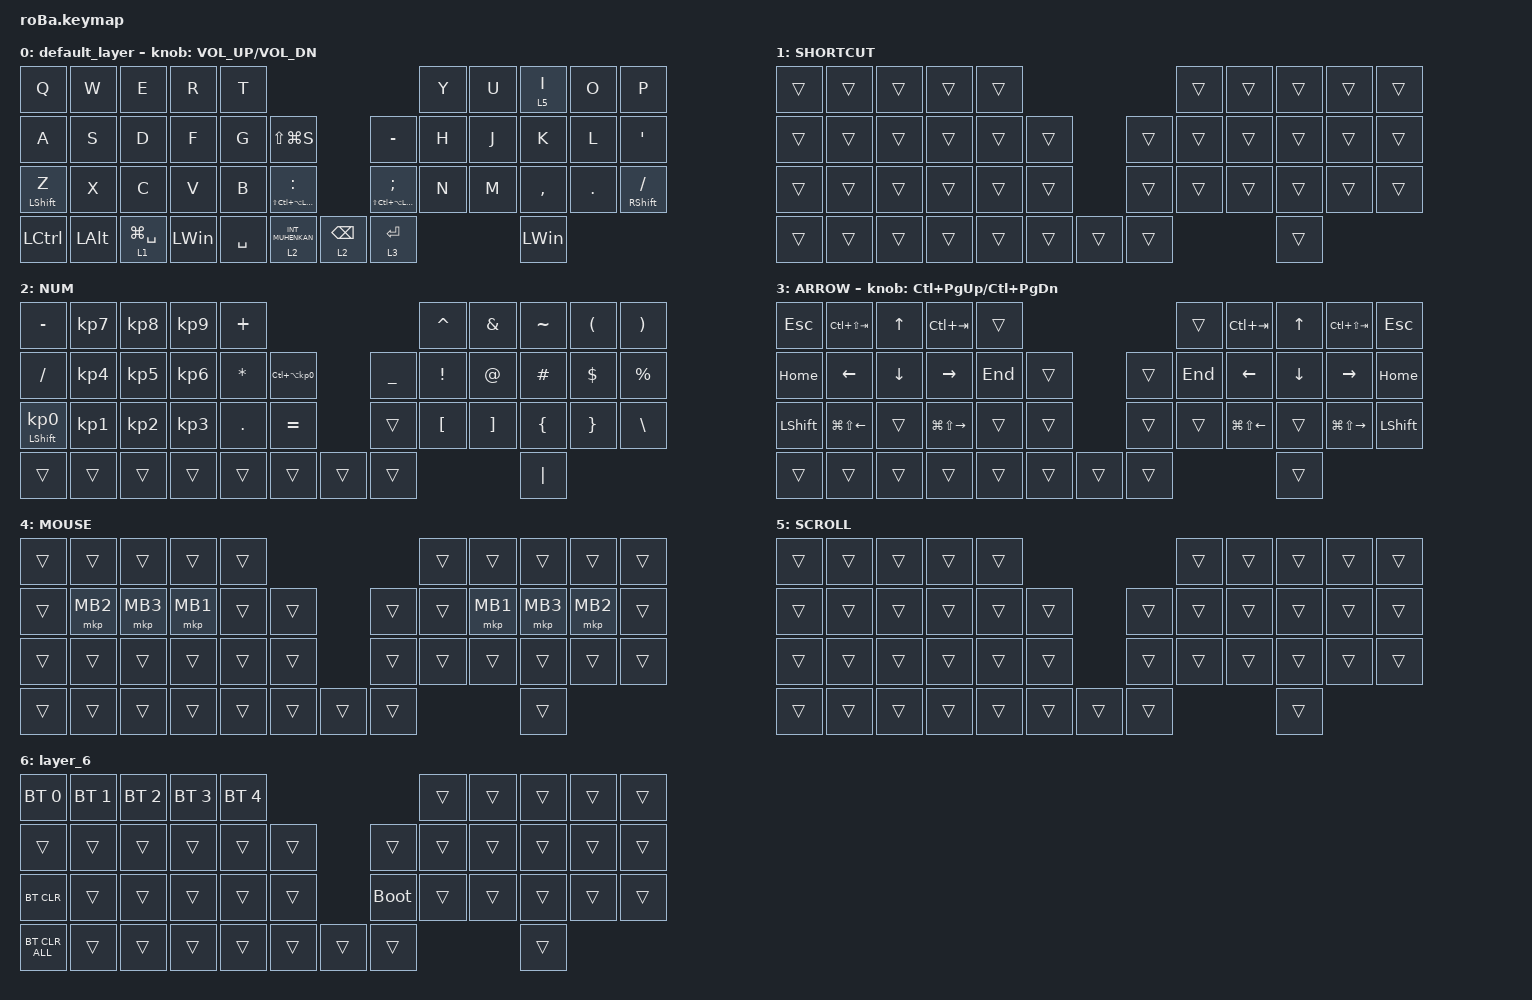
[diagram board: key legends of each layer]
#include <behaviors.dtsi>
#include <dt-bindings/zmk/bt.h>
#include <dt-bindings/zmk/keys.h>
#include <dt-bindings/zmk/pointing.h>

&mt {
    flavor = "balanced";
    quick-tap-ms = <0>;
    tapping-term-ms = <180>;
};

&lt {
    tapping-term-ms = <180>;
};

&trackball {
    automouse-layer = <4>;
    scroll-layers = <5>;

    // arrows {
    //     layers = <3>;
    //     bindings =
    //         <&kp RIGHT_ARROW>,
    //         <&kp LEFT_ARROW>,
    //         <&kp UP_ARROW>,
    //         <&kp DOWN_ARROW>;

    //     tick = <10>;
    //     wait-ms = <5>;
    //     tap-ms = <5>;
    // };
};

/ {
    combos {
        compatible = "zmk,combos";

        tab {
            bindings = <&kp TAB>;
            key-positions = <11 12>;
            timeout-ms = <200>;
        };

        shift_tab {
            bindings = <&kp LS(TAB)>;
            key-positions = <12 13>;
            timeout-ms = <200>;
        };

        muhennkann {
            bindings = <&to_layer_0 INT_MUHENKAN>;
            key-positions = <11 10>;
            timeout-ms = <200>;
        };

        double_quotation {
            bindings = <&kp DOUBLE_QUOTES>;
            key-positions = <20 21>;
            timeout-ms = <200>;
        };

        eq {
            bindings = <&kp EQUAL>;
            key-positions = <24 25>;
            timeout-ms = <200>;
        };

        english {
            bindings = <&kp LANGUAGE_2>;
            key-positions = <13 38>;
            timeout-ms = <200>;
        };

        japanese {
            bindings = <&kp LANGUAGE_1>;
            key-positions = <18 41>;
            timeout-ms = <200>;
        };
    };

    macros {
        to_layer_0: to_layer_0 {
            compatible = "zmk,behavior-macro-one-param";
            #binding-cells = <1>;
            bindings = <&to 0 &macro_param_1to1 &kp MACRO_PLACEHOLDER>;
            label = "TO_LAYER_0";
        };
    };

    behaviors {
        lt_to_layer_0: lt_to_layer_0 {
            compatible = "zmk,behavior-hold-tap";
            label = "LAYER_TAP_TO_0";
            bindings = <&mo>, <&to_layer_0>;

            #binding-cells = <2>;
            tapping-term-ms = <180>;
        };

        ht: hold_tap {
            compatible = "zmk,behavior-hold-tap";
            #binding-cells = <2>;
            bindings = <&kp>, <&kp>;
            tapping-term-ms = <180>;
            flavor = "balanced";
        };
    };

    keymap {
        compatible = "zmk,keymap";

        default_layer {
            bindings = <
&kp Q             &kp W         &kp E         &kp R                        &kp T                                                          &kp Y        &kp U  &lt 5 I    &kp O    &kp P
&kp A             &kp S         &kp D         &kp F                        &kp G        &kp LS(LG(S))                      &kp MINUS      &kp H        &kp J  &kp K      &kp L    &kp SQT
&mt LEFT_SHIFT Z  &kp X         &kp C         &kp V                        &kp B        &ht LS(LC(LA(LGUI))) COLON         &ht LS(LC(LA(LGUI))) SEMICOLON  &kp N        &kp M  &kp COMMA  &kp DOT  &mt RIGHT_SHIFT SLASH
&kp LCTRL         &kp LEFT_ALT  &lt 1 LG(SPACE)  &kp LEFT_WIN  &kp SPACE  &lt 2 INT_MUHENKAN      &lt 2 BACKSPACE  &lt 3 ENTER                             &kp LEFT_WIN
            >;

            sensor-bindings = <&inc_dec_kp C_VOL_UP C_VOL_DN>;
        };

        SHORTCUT {
            bindings = <
&trans  &trans  &trans  &trans  &trans                  &trans  &trans  &trans  &trans  &trans
&trans  &trans  &trans  &trans  &trans  &trans  &trans  &trans  &trans  &trans  &trans  &trans
&trans  &trans  &trans  &trans  &trans  &trans  &trans  &trans  &trans  &trans  &trans  &trans
&trans  &trans  &trans  &trans  &trans  &trans  &trans  &trans                          &trans
            >;
        };

        NUM {
            bindings = <
&kp MINUS                   &kp KP_NUMBER_7  &kp KP_NUMBER_8  &kp KP_NUMBER_9  &kp PLUS                                                   &kp CARET         &kp AMPERSAND      &kp TILDE       &kp LEFT_PARENTHESIS  &kp RIGHT_PARENTHESIS
&kp SLASH                   &kp KP_NUMBER_4  &kp KP_NUMBER_5  &kp KP_NUMBER_6  &kp ASTERISK  &kp LC(LA(KP_NUMBER_0))      &kp UNDERSCORE  &kp EXCLAMATION   &kp AT_SIGN        &kp HASH        &kp DOLLAR            &kp PERCENT
&mt LEFT_SHIFT KP_NUMBER_0  &kp KP_NUMBER_1  &kp KP_NUMBER_2  &kp KP_NUMBER_3  &kp PERIOD    &kp EQUAL                    &trans          &kp LEFT_BRACKET  &kp RIGHT_BRACKET  &kp LEFT_BRACE  &kp RIGHT_BRACE       &kp BACKSLASH
&trans                      &trans           &trans           &trans           &trans        &trans                       &trans          &trans                                                                     &kp PIPE
            >;
        };

        ARROW {
            bindings = <
&kp ESCAPE      &kp LC(LS(TAB))         &kp UP_ARROW    &kp LC(TAB)              &trans                       &trans  &kp LC(TAB)              &kp UP_ARROW    &kp LC(LS(TAB))         &kp ESCAPE
&kp HOME        &kp LEFT_ARROW          &kp DOWN_ARROW  &kp RIGHT_ARROW          &kp END  &trans      &trans  &kp END  &kp LEFT_ARROW          &kp DOWN_ARROW  &kp RIGHT_ARROW         &kp HOME
&kp LEFT_SHIFT  &kp LG(LS(LEFT_ARROW))  &trans          &kp LG(LS(RIGHT_ARROW))  &trans   &trans      &trans  &trans  &kp LG(LS(LEFT_ARROW))   &trans          &kp LG(LS(RIGHT_ARROW)) &kp LEFT_SHIFT
&trans          &trans                  &trans          &trans                   &trans   &trans      &trans  &trans                                                                   &trans
            >;

            sensor-bindings = <&inc_dec_kp LC(PAGE_UP) LC(PAGE_DOWN)>;
        };

        MOUSE {
            bindings = <
&trans  &trans  &trans  &trans  &trans                      &trans  &trans    &trans    &trans    &trans
&trans  &mkp MB2  &mkp MB3  &mkp MB1  &trans  &trans      &trans  &trans  &mkp MB1  &mkp MB3  &mkp MB2  &trans
&trans  &trans  &trans  &trans  &trans  &trans      &trans  &trans  &trans    &trans    &trans    &trans
&trans  &trans  &trans  &trans  &trans  &trans      &trans  &trans                                &trans
            >;
        };

        SCROLL {
            bindings = <
&trans  &trans  &trans  &trans  &trans                      &trans  &trans  &trans  &trans  &trans
&trans  &trans  &trans  &trans  &trans  &trans      &trans  &trans  &trans  &trans  &trans  &trans
&trans  &trans  &trans  &trans  &trans  &trans      &trans  &trans  &trans  &trans  &trans  &trans
&trans  &trans  &trans  &trans  &trans  &trans      &trans  &trans                          &trans
            >;
        };

        layer_6 {
            bindings = <
&bt BT_SEL 0    &bt BT_SEL 1  &bt BT_SEL 2  &bt BT_SEL 3  &bt BT_SEL 4                     &trans  &trans  &trans  &trans  &trans
&trans          &trans        &trans        &trans        &trans        &trans      &trans    &trans  &trans  &trans  &trans  &trans
&bt BT_CLR      &trans        &trans        &trans        &trans        &trans      &bootloader  &trans  &trans  &trans  &trans  &trans
&bt BT_CLR_ALL  &trans        &trans        &trans        &trans        &trans      &trans    &trans                          &trans
            >;
        };
    };
};
